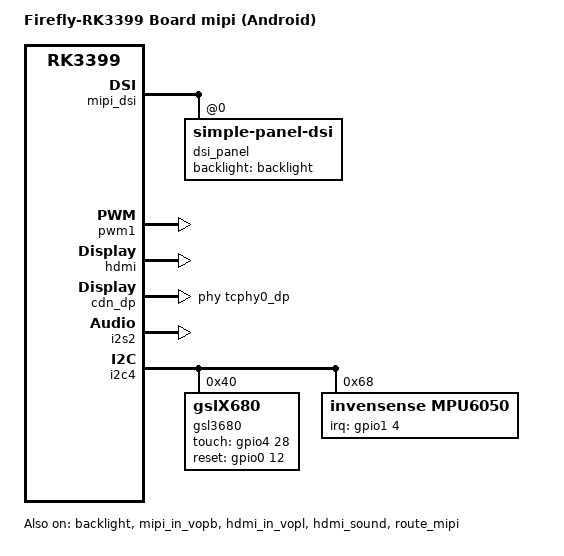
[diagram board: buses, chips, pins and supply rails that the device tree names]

/*
 * Copyright (c) 2016 Fuzhou Rockchip Electronics Co., Ltd
 *
 * This file is dual-licensed: you can use it either under the terms
 * of the GPL or the X11 license, at your option. Note that this dual
 * licensing only applies to this file, and not this project as a
 * whole.
 *
 *  a) This file is free software; you can redistribute it and/or
 *     modify it under the terms of the GNU General Public License as
 *     published by the Free Software Foundation; either version 2 of the
 *     License, or (at your option) any later version.
 *
 *     This file is distributed in the hope that it will be useful,
 *     but WITHOUT ANY WARRANTY; without even the implied warranty of
 *     MERCHANTABILITY or FITNESS FOR A PARTICULAR PURPOSE.  See the
 *     GNU General Public License for more details.
 *
 * Or, alternatively,
 *
 *  b) Permission is hereby granted, free of charge, to any person
 *     obtaining a copy of this software and associated documentation
 *     files (the "Software"), to deal in the Software without
 *     restriction, including without limitation the rights to use,
 *     copy, modify, merge, publish, distribute, sublicense, and/or
 *     sell copies of the Software, and to permit persons to whom the
 *     Software is furnished to do so, subject to the following
 *     conditions:
 *
 *     The above copyright notice and this permission notice shall be
 *     included in all copies or substantial portions of the Software.
 *
 *     THE SOFTWARE IS PROVIDED "AS IS", WITHOUT WARRANTY OF ANY KIND,
 *     EXPRESS OR IMPLIED, INCLUDING BUT NOT LIMITED TO THE WARRANTIES
 *     OF MERCHANTABILITY, FITNESS FOR A PARTICULAR PURPOSE AND
 *     NONINFRINGEMENT. IN NO EVENT SHALL THE AUTHORS OR COPYRIGHT
 *     HOLDERS BE LIABLE FOR ANY CLAIM, DAMAGES OR OTHER LIABILITY,
 *     WHETHER IN AN ACTION OF CONTRACT, TORT OR OTHERWISE, ARISING
 *     FROM, OUT OF OR IN CONNECTION WITH THE SOFTWARE OR THE USE OR
 *     OTHER DEALINGS IN THE SOFTWARE.
 */

/dts-v1/;

#include "rk3399-firefly-port.dtsi" 	

/ {
	model = "Firefly-RK3399 Board mipi (Android)";
	compatible = "rockchip,android", "rockchip,rk3399-firefly-mipi", "rockchip,rk3399";

	test-power {
		status = "okay";
	};
};

&backlight {
	status = "okay";
	pwms = <&pwm1 0 25000 0>;
};


&mipi_dsi {
	status = "okay";
	dsi_panel: panel {
		compatible ="simple-panel-dsi";
		reg = <0>;
		backlight = <&backlight>;
		dsi,flags = <(MIPI_DSI_MODE_VIDEO | MIPI_DSI_MODE_VIDEO_BURST /*| MIPI_DSI_MODE_VIDEO_SYNC_PULSE*/)>;
		dsi,format = <MIPI_DSI_FMT_RGB888>;
		bus-format = <MEDIA_BUS_FMT_RGB666_1X18>;
		dsi,lanes = <4>;

        dsi,channel = <0>;

        delay,enable = <35>;
        delay,prepare = <6>;

        delay,unprepare = <0>;
        delay,disable = <20>;
		
        size,width = <120>;
        size,height = <170>;

        status = "okay";
				

        panel-init-sequence = [
		
			39 20 02 FF 10
			39 20 02 FB 01
			39 20 06 3B 03 0A 0A 04 04
			39 20 02 FF 20
			39 20 02 FB 01
			39 20 02 89 18
			39 20 02 06 9B
			39 20 02 07 A1
			39 20 02 0E AD
			39 20 02 0F AC
			39 20 02 62 AB
			39 20 02 6D 44
			39 20 02 FF 24
			39 20 02 FB 01
			39 20 02 00 1C
			39 20 02 01 0D
			39 20 02 02 1C
			39 20 02 03 0A
			39 20 02 04 1C
			39 20 02 05 23
			39 20 02 06 1C
			39 20 02 07 1C
			39 20 02 08 06
			39 20 02 09 05
			39 20 02 0A 04
			39 20 02 0B 03
			39 20 02 0C 1C
			39 20 02 0D 1C
			39 20 02 0E 1C
			39 20 02 0F 1C
			39 20 02 10 1C
			39 20 02 11 14
			39 20 02 12 10
			39 20 02 13 12
			39 20 02 14 1C
			39 20 02 15 11
			39 20 02 16 13
			39 20 02 17 1C
			39 20 02 18 1C
			39 20 02 19 1C
			39 20 02 1A 01
			39 20 02 1B 1C
			39 20 02 1C 23
			39 20 02 1D 1C
			39 20 02 1E 1C
			39 20 02 1F 06
			39 20 02 20 05
			39 20 02 21 04
			39 20 02 22 03
			39 20 02 23 1C
			39 20 02 24 1C
			39 20 02 25 1C
			39 20 02 26 1C
			39 20 02 27 1C
			39 20 02 28 14
			39 20 02 29 10
			39 20 02 2A 12
			39 20 02 2B 1C
			39 20 02 2D 11
			39 20 02 2F 13
			39 20 02 31 04
			39 20 02 32 08
			39 20 02 33 00
			39 20 02 34 00
			39 20 02 35 00
			39 20 02 37 22
			39 20 02 38 5F
			39 20 02 39 5F
			39 20 02 3F 5F
			39 20 02 41 04
			39 20 02 42 08
			39 20 02 4C 15
			39 20 02 4D 15
			39 20 02 60 90
			39 20 02 61 24
			39 20 02 62 03
			39 20 02 6F 90
			39 20 02 72 00
			39 20 02 73 00
			39 20 02 74 00
			39 20 02 75 00
			39 20 02 79 01
			39 20 02 7A 03
			39 20 02 7B 9C
			39 20 02 7C 80
			39 20 02 7D 05
			39 20 02 80 42
			39 20 02 82 13
			39 20 02 83 22
			39 20 02 84 31
			39 20 02 85 00
			39 20 02 86 00
			39 20 02 87 00
			39 20 02 88 13
			39 20 02 89 22
			39 20 02 8A 31
			39 20 02 8B 00
			39 20 02 8C 00
			39 20 02 8D 00
			39 20 02 8E F4
			39 20 02 8F 01
			39 20 02 90 80
			39 20 02 92 73
			39 20 02 93 20
			39 20 02 94 11
			39 20 02 B3 22
			39 20 02 B4 85
			39 20 02 B5 54
			39 20 02 C2 86
			39 20 02 DC 00
			39 20 02 DE 10
			39 20 02 DF 39
			39 20 02 E0 39
			39 20 02 EB 03
			39 20 02 EF 14
			39 20 02 F0 01
			39 20 02 F3 40
			39 20 02 FF 25
			39 20 02 FB 01
			39 20 02 21 1C
			39 20 02 22 1C
			39 20 02 24 73
			39 20 02 25 73
			39 20 02 68 50
			39 20 02 69 10
			39 20 02 6B 00
			39 20 02 6D 0D
			39 20 02 71 5D
			39 20 02 72 31
			39 20 02 73 48
			39 20 02 74 12
			39 20 02 77 70
			39 20 02 78 85
			39 20 02 7D 40
			39 20 02 7E 1D
			39 20 02 7F 00
			39 20 02 84 4D
			39 20 02 BC 23
			39 20 02 BF C0
			39 20 02 D0 80
			39 20 02 D9 69
			39 20 02 FF 26
			39 20 02 FB 01
			39 20 02 06 FF
			39 20 02 0C 11
			39 20 02 0F 09
			39 20 02 10 0A
			39 20 02 12 82
			39 20 02 1A EE
			39 20 02 1C AF
			39 20 02 1D 0B
			39 20 02 1E 71
			39 20 02 98 F1
			39 20 02 9A 81
			39 20 02 9D 00
			39 20 02 9E 01
			39 20 02 A9 11
			39 20 02 AE 42
			39 20 02 AF 06
			39 20 02 B1 05
			39 20 02 B2 2C
			39 20 02 B4 AE
			39 20 02 FF 27
			39 20 02 FB 01
			39 20 02 13 00
			39 20 02 1E 15
			39 20 02 FF F0
			39 20 02 FB 01
			39 20 02 A2 00
			39 20 02 FF 10

			39 20 02 FF 10
			39 20 02 35 00
		    39 96 02 11 00
		    39 96 02 29 00

        ];

		panel-exit-sequence = [
			05 05 01 28
			05 78 01 10
		];
		
		power_ctr: power_ctr {
               rockchip,debug = <0>;
               lcd_en: lcd-en {
                       gpios = <&gpio1 1 GPIO_ACTIVE_HIGH>;
					   pinctrl-names = "default";
					   pinctrl-0 = <&lcd_panel_enable>;
                       rockchip,delay = <10>;
               };
               lcd_rst: lcd-rst {
                       gpios = <&gpio4 29 GPIO_ACTIVE_HIGH>;
					   pinctrl-names = "default";
					   pinctrl-0 = <&lcd_panel_reset>;
                       rockchip,delay = <6>;
               };
	   	};

		disp_timings: display-timings {
				          native-mode = <&timing0>;
				          timing0: timing0 {
				                       clock-frequency = <143000000>;
				                       hactive = <1080>;
				                       vactive = <2340>;
				                       hsync-len = <8>;  
				                       hback-porch = <54>;
				                       hfront-porch = <24>;
				                       vsync-len = <46>;
				                       vback-porch = <7>;
				                       vfront-porch = <8>;
				                       hsync-active = <0>;
				                       vsync-active = <0>;
				                       de-active = <0>;
				                       pixelclk-active = <0>;
				                   };
				      };
	};
};



&pwm1 {
	status = "okay";
};

&mipi_in_vopl {
	status = "disabled";
};

&mipi_in_vopb {
	status = "okay";
};

&hdmi {
	status = "okay";
};

&hdmi_in_vopb {
	status = "disabled";
};
&hdmi_in_vopl {
	status = "okay";
};

&cdn_dp {
    status = "okay";
    extcon = <&fusb0>;
    phys = <&tcphy0_dp>;
};

&dp_in_vopb {
    status = "disabled";
};

&hdmi_sound {
	status = "okay";
};

&i2s2 {
	status = "okay";
};

&i2c4 {
	status = "okay";
    gsl3680: gsl3680@41 {
	      status = "okay";
              compatible = "gslX680";
              reg = <0x40>;
              screen_max_x = <1536>;
              screen_max_y = <2048>;
              touch-gpio = <&gpio4 28 IRQ_TYPE_LEVEL_LOW>;
              reset-gpio = <&gpio0 12 GPIO_ACTIVE_HIGH>;
     };

	mpu6050:mpu@68{
            status = "okay";
            compatible = "invensense,mpu6050";
            reg = <0x68>;
            mpu-int_config = <0x10>;
            mpu-level_shifter = <0>;
            mpu-orientation = <0 1 0 1 0 0 0 0 1>;
            orientation-x= <1>;
            orientation-y= <1>;
            orientation-z= <1>;
            irq-gpio = <&gpio1 4 IRQ_TYPE_LEVEL_LOW>;
            mpu-debug = <1>;
        };

};

&vopb {
	assigned-clocks = <&cru DCLK_VOP0_DIV>;
	assigned-clock-parents = <&cru PLL_CPLL>;
};

&vopl {
	assigned-clocks = <&cru DCLK_VOP1_DIV>;
	assigned-clock-parents = <&cru PLL_VPLL>;
};

&route_hdmi {
	status = "disabled";
	logo,mode = "center";
};
&route_mipi {
	status = "okay";
	logo,mode = "center";
};
&pinctrl {
	lcd-panel {
		lcd_panel_reset: lcd-panel-reset {
			rockchip,pins = <4 29 RK_FUNC_GPIO &pcfg_pull_down>;
		};

		lcd_panel_enable: lcd-panel-enable {
			rockchip,pins = <1 1 RK_FUNC_GPIO &pcfg_pull_down>;
		};

	};
};
